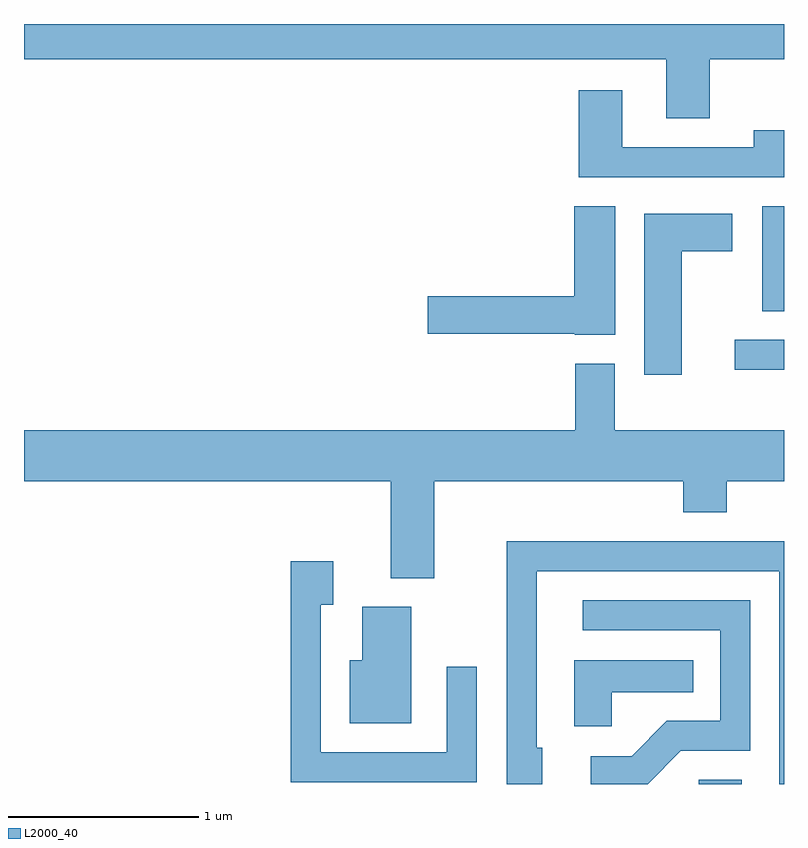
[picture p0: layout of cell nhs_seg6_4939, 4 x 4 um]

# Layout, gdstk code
import gdstk
lib = gdstk.Library(unit=1e-6, precision=1e-09)
def R(c, l, rs):  # rectangles x0, y0, x1, y1
    for r in rs: c.add(gdstk.rectangle(r[:2], r[2:], *l))
def P(c, l, *ps):  # polygons
    for p in ps: c.add(gdstk.Polygon(p, *l))
L2000_40 = (2000, 40)

nhs_seg6_4939 = lib.new_cell('nhs_seg6_4939')
R(nhs_seg6_4939, L2000_40, [(339.161,1606.162,339.389,1606.184), (339.353,1608.341,339.611,1608.499), (339.496,1608.651,339.611,1609.204)])
P(nhs_seg6_4939, L2000_40, [(339.219,1609.976),(339.611,1609.976),(339.611,1610.162),(335.611,1610.162),(335.611,1609.976),(338.991,1609.976),(338.991,1609.666),(339.219,1609.666)],
  [(339.611,1609.604),(339.451,1609.604),(339.451,1609.514),(338.759,1609.514),(338.759,1609.814),(338.531,1609.814),(338.531,1609.356),(339.611,1609.356)],
  [(338.724,1609.204),(338.506,1609.204),(338.506,1608.729),(337.736,1608.729),(337.736,1608.531),(338.51,1608.531),(338.51,1608.526),(338.724,1608.526)],
  [(339.074,1608.966),(339.339,1608.966),(339.339,1609.164),(338.876,1609.164),(338.876,1608.316),(339.074,1608.316)],
  [(337.769,1607.756),(339.081,1607.756),(339.081,1607.591),(339.309,1607.591),(339.309,1607.756),(339.611,1607.756),(339.611,1608.024),(338.719,1608.024),(338.719,1608.374),(338.511,1608.374),(338.511,1608.024),(335.611,1608.024),(335.611,1607.756),(337.541,1607.756),(337.541,1607.246),(337.769,1607.246)],
  [(338.339,1606.354),(338.309,1606.354),(338.309,1607.281),(339.586,1607.281),(339.586,1606.162),(339.611,1606.162),(339.611,1607.439),(338.151,1607.439),(338.151,1606.162),(338.339,1606.162)],
  [(337.994,1606.778),(337.836,1606.778),(337.836,1606.329),(337.174,1606.329),(337.174,1607.106),(337.239,1607.106),(337.239,1607.334),(337.016,1607.334),(337.016,1606.171),(337.994,1606.171)],
  [(339.067,1606.336),(339.434,1606.336),(339.434,1607.129),(338.553,1607.129),(338.553,1606.971),(339.276,1606.971),(339.276,1606.494),(338.994,1606.494),(338.809,1606.309),(338.593,1606.309),(338.593,1606.162),(338.893,1606.162)],
  [(337.649,1607.094),(337.391,1607.094),(337.391,1606.814),(337.326,1606.814),(337.326,1606.481),(337.649,1606.481)],
  [(338.704,1606.646),(339.133,1606.646),(339.133,1606.814),(338.506,1606.814),(338.506,1606.466),(338.704,1606.466)])

lib.write_gds('nhs_seg6_4939.gds')
